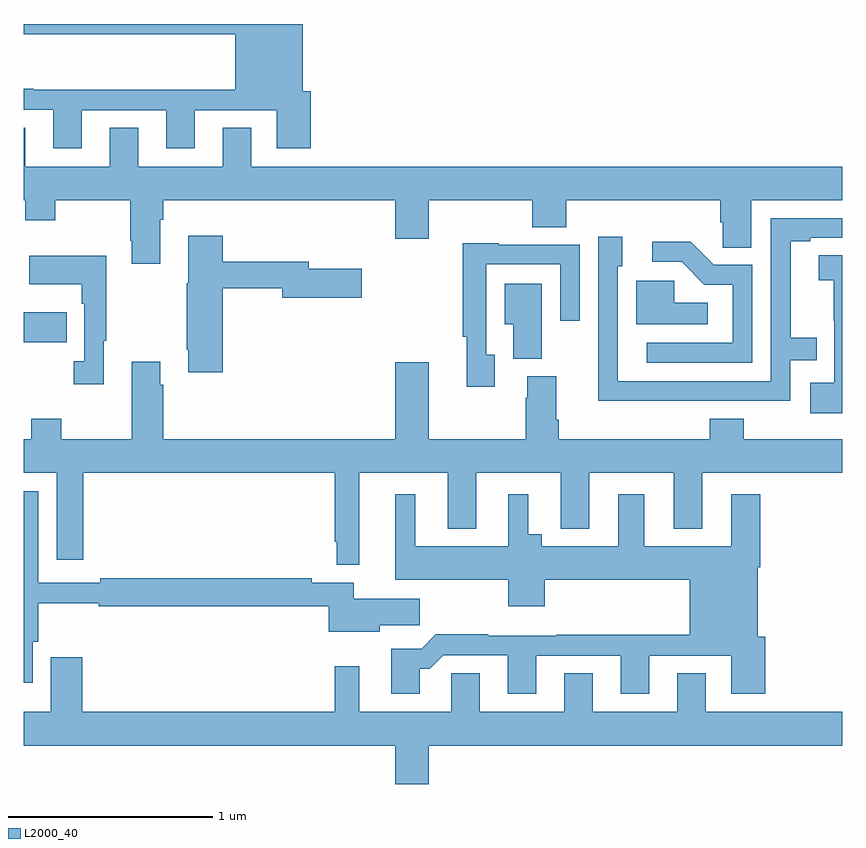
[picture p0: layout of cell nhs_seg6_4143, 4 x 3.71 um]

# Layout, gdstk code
import gdstk
lib = gdstk.Library(unit=1e-6, precision=1e-09)
def R(c, l, rs):  # rectangles x0, y0, x1, y1
    for r in rs: c.add(gdstk.rectangle(r[:2], r[2:], *l))
def P(c, l, *ps):  # polygons
    for p in ps: c.add(gdstk.Polygon(p, *l))
L2000_40 = (2000, 40)

nhs_seg6_4143 = lib.new_cell('nhs_seg6_4143')
R(nhs_seg6_4143, L2000_40, [(355,975.946,355.211,976.093)])
P(nhs_seg6_4143, L2000_40, [(355.285,977.079),(355.697,977.079),(355.697,976.893),(355.837,976.893),(355.837,977.079),(356.237,977.079),(356.237,976.893),(356.402,976.893),(356.402,977.172),(356.365,977.172),(356.365,977.5),(355,977.5),(355,977.45),(356.033,977.45),(356.033,977.18),(355.049,977.18),(355.049,977.183),(355,977.183),(355,977.082),(355.145,977.082),(355.145,976.893),(355.285,976.893)],
  [(355,976.64),(355.008,976.64),(355.008,976.541),(355.155,976.541),(355.155,976.64),(355.522,976.64),(355.522,976.441),(355.529,976.441),(355.529,976.329),(355.669,976.329),(355.669,976.544),(355.682,976.544),(355.682,976.64),(356.816,976.64),(356.816,976.452),(356.98,976.452),(356.98,976.64),(357.485,976.64),(357.485,976.507),(357.65,976.507),(357.65,976.64),(358.403,976.64),(358.403,976.531),(358.416,976.531),(358.416,976.408),(358.555,976.408),(358.555,976.64),(359,976.64),(359,976.804),(356.113,976.804),(356.113,976.994),(355.973,976.994),(355.973,976.804),(355.561,976.804),(355.561,976.994),(355.421,976.994),(355.421,976.804),(355.009,976.804),(355.009,976.994),(355,976.994)],
  [(358.268,975.66),(358.746,975.66),(358.746,975.858),(358.874,975.858),(358.874,975.967),(358.747,975.967),(358.747,976.44),(358.843,976.44),(358.843,976.455),(359,976.455),(359,976.551),(358.65,976.551),(358.65,975.756),(357.903,975.756),(357.903,976.317),(357.925,976.317),(357.925,976.462),(357.807,976.462),(357.807,975.962),(357.806,975.962),(357.806,975.659),(358.268,975.659)],
  [(355.973,976.21),(356.264,976.21),(356.264,976.163),(356.653,976.163),(356.653,976.305),(356.392,976.305),(356.392,976.339),(355.973,976.339),(355.973,976.465),(355.805,976.465),(355.805,976.233),(355.798,976.233),(355.798,975.91),(355.805,975.91),(355.805,975.798),(355.973,975.798)],
  [(358.56,976.323),(358.371,976.323),(358.258,976.436),(358.071,976.436),(358.071,976.338),(358.215,976.338),(358.326,976.227),(358.464,976.227),(358.464,975.942),(358.044,975.942),(358.044,975.846),(358.56,975.846)],
  [(357.301,975.885),(357.261,975.885),(357.261,976.326),(357.621,976.326),(357.621,976.05),(357.717,976.05),(357.717,976.422),(357.321,976.422),(357.321,976.429),(357.145,976.429),(357.145,975.973),(357.164,975.973),(357.164,975.729),(357.301,975.729)],
  [(358.998,975.651),(359,975.651),(359,976.37),(358.884,976.37),(358.884,976.249),(358.958,976.249),(358.958,976.051),(358.959,976.051),(358.959,975.747),(358.842,975.747),(358.842,975.6),(358.998,975.6)],
  [(355.393,975.953),(355.405,975.953),(355.405,976.369),(355.027,976.369),(355.027,976.229),(355.284,976.229),(355.284,976.133),(355.296,976.133),(355.296,975.854),(355.245,975.854),(355.245,975.741),(355.393,975.741)],
  [(358.342,976.138),(358.179,976.138),(358.179,976.245),(357.992,976.245),(357.992,976.034),(358.342,976.034)],
  [(357.532,976.231),(357.35,976.231),(357.35,976.034),(357.392,976.034),(357.392,975.865),(357.532,975.865)],
  [(355.037,975.472),(355,975.472),(355,975.308),(355.163,975.308),(355.163,974.883),(355.292,974.883),(355.292,975.308),(356.52,975.308),(356.52,974.971),(356.53,974.971),(356.53,974.859),(356.641,974.859),(356.641,975.308),(357.071,975.308),(357.071,975.035),(357.211,975.035),(357.211,975.308),(357.623,975.308),(357.623,975.035),(357.763,975.035),(357.763,975.308),(358.175,975.308),(358.175,975.035),(358.315,975.035),(358.315,975.308),(359,975.308),(359,975.472),(358.517,975.472),(358.517,975.571),(358.352,975.571),(358.352,975.472),(357.614,975.472),(357.614,975.568),(357.601,975.568),(357.601,975.78),(357.461,975.78),(357.461,975.674),(357.454,975.674),(357.454,975.472),(356.98,975.472),(356.98,975.847),(356.816,975.847),(356.816,975.472),(355.682,975.472),(355.682,975.737),(355.669,975.737),(355.669,975.85),(355.529,975.85),(355.529,975.472),(355.185,975.472),(355.185,975.571),(355.037,975.571)],
  [(355.045,974.484),(355.072,974.484),(355.072,974.671),(355.368,974.671),(355.368,974.656),(356.492,974.656),(356.492,974.531),(356.74,974.531),(356.74,974.563),(356.935,974.563),(356.935,974.692),(356.614,974.692),(356.614,974.772),(356.408,974.772),(356.408,974.792),(355.375,974.792),(355.375,974.772),(355.072,974.772),(355.072,975.217),(355,975.217),(355,974.282),(355.045,974.282)],
  [(356.935,974.351),(356.984,974.351),(357.051,974.418),(357.365,974.418),(357.365,974.229),(357.505,974.229),(357.505,974.415),(357.917,974.415),(357.917,974.229),(358.057,974.229),(358.057,974.415),(358.457,974.415),(358.457,974.229),(358.622,974.229),(358.622,974.508),(358.585,974.508),(358.585,974.846),(358.598,974.846),(358.598,975.202),(358.457,975.202),(358.457,974.95),(358.033,974.95),(358.033,975.202),(357.905,975.202),(357.905,974.95),(357.532,974.95),(357.532,975.007),(357.466,975.007),(357.466,975.202),(357.368,975.202),(357.368,974.95),(356.914,974.95),(356.914,975.202),(356.816,975.202),(356.816,974.786),(357.367,974.786),(357.367,974.655),(357.545,974.655),(357.545,974.786),(358.253,974.786),(358.253,974.516),(357.601,974.516),(357.601,974.512),(357.269,974.512),(357.269,974.519),(357.014,974.519),(356.944,974.449),(356.795,974.449),(356.795,974.229),(356.935,974.229)],
  [(356.52,974.362),(356.52,974.14),(355.286,974.14),(355.286,974.407),(355.133,974.407),(355.133,974.14),(355,974.14),(355,973.976),(356.816,973.976),(356.816,973.788),(356.98,973.788),(356.98,973.976),(359,973.976),(359,974.14),(358.333,974.14),(358.333,974.33),(358.193,974.33),(358.193,974.14),(357.781,974.14),(357.781,974.33),(357.641,974.33),(357.641,974.14),(357.229,974.14),(357.229,974.33),(357.09,974.33),(357.09,974.14),(356.641,974.14),(356.641,974.362)])

lib.write_gds('nhs_seg6_4143.gds')
